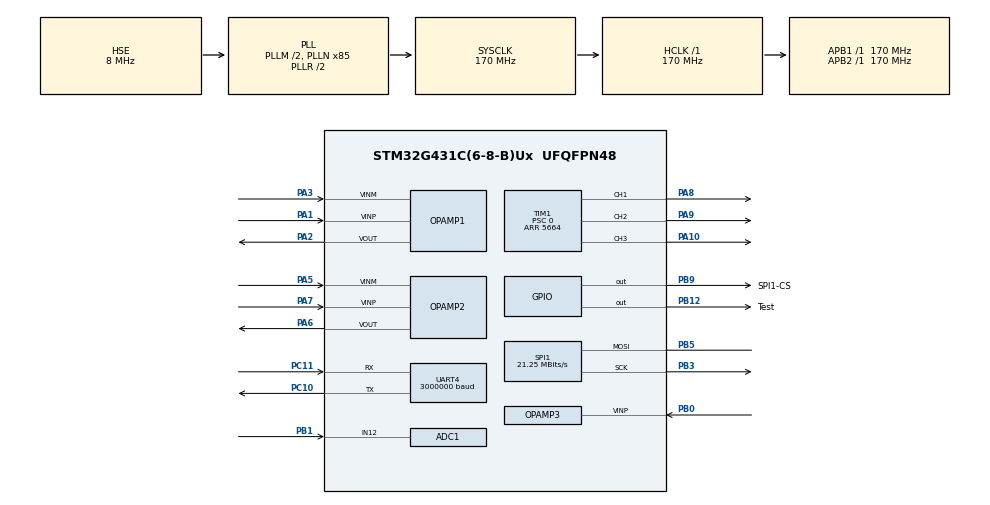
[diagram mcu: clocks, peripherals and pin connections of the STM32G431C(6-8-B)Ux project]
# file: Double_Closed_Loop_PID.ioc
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ADC1.Channel-0\#ChannelRegularConversion=ADC_CHANNEL_3
ADC1.EnableInjectedConversion=ENABLE
ADC1.ExternalTrigInjecConv=ADC_EXTERNALTRIGINJEC_T1_CC4
ADC1.InjNumberOfConversion=2
ADC1.InjectedChannel-1\#ChannelInjectedConversion=ADC_CHANNEL_3
ADC1.InjectedChannel-2\#ChannelInjectedConversion=ADC_CHANNEL_12
ADC1.InjectedOffsetNumber-1\#ChannelInjectedConversion=ADC_OFFSET_NONE
ADC1.InjectedOffsetNumber-2\#ChannelInjectedConversion=ADC_OFFSET_NONE
ADC1.InjectedRank-1\#ChannelInjectedConversion=1
ADC1.InjectedRank-2\#ChannelInjectedConversion=2
ADC1.InjectedSamplingTime-1\#ChannelInjectedConversion=ADC_SAMPLETIME_24CYCLES_5
ADC1.InjectedSamplingTime-2\#ChannelInjectedConversion=ADC_SAMPLETIME_6CYCLES_5
ADC1.NbrOfConversion=1
ADC1.NbrOfConversionFlag=1
ADC1.OffsetNumber-0\#ChannelRegularConversion=ADC_OFFSET_NONE
ADC1.Rank-0\#ChannelRegularConversion=1
ADC1.Rank1_Channel=ADC_CHANNEL_3
ADC1.Rank2_Channel=ADC_CHANNEL_12
ADC1.SamplingTime-0\#ChannelRegularConversion=ADC_SAMPLETIME_640CYCLES_5
ADC1.master=1
ADC2.Channel-0\#ChannelRegularConversion=ADC_CHANNEL_3
ADC2.EnableInjectedConversion=ENABLE
ADC2.ExternalTrigInjecConv=ADC_EXTERNALTRIGINJEC_T1_CC4
ADC2.InjNumberOfConversion=1
ADC2.InjectedChannel-1\#ChannelInjectedConversion=ADC_CHANNEL_3
ADC2.InjectedOffsetNumber-1\#ChannelInjectedConversion=ADC_OFFSET_NONE
ADC2.InjectedRank-1\#ChannelInjectedConversion=1
ADC2.InjectedSamplingTime-1\#ChannelInjectedConversion=ADC_SAMPLETIME_24CYCLES_5
ADC2.NbrOfConversionFlag=1
ADC2.OffsetNumber-0\#ChannelRegularConversion=ADC_OFFSET_NONE
ADC2.Rank-0\#ChannelRegularConversion=1
ADC2.Rank1_Channel=ADC_CHANNEL_3
ADC2.SamplingTime-0\#ChannelRegularConversion=ADC_SAMPLETIME_640CYCLES_5
Dma.Request0=UART4_RX
Dma.Request1=UART4_TX
Dma.Request2=SPI1_RX
Dma.Request3=SPI1_TX
Dma.SPI1_RX.2.Direction=DMA_PERIPH_TO_MEMORY
Dma.SPI1_RX.2.EventEnable=DISABLE
Dma.SPI1_RX.2.Instance=DMA1_Channel3
Dma.SPI1_RX.2.MemDataAlignment=DMA_MDATAALIGN_HALFWORD
Dma.SPI1_RX.2.MemInc=DMA_MINC_ENABLE
Dma.SPI1_RX.2.Mode=DMA_NORMAL
Dma.SPI1_RX.2.PeriphDataAlignment=DMA_PDATAALIGN_HALFWORD
Dma.SPI1_RX.2.PeriphInc=DMA_PINC_DISABLE
Dma.SPI1_RX.2.Polarity=HAL_DMAMUX_REQ_GEN_RISING
Dma.SPI1_RX.2.Priority=DMA_PRIORITY_LOW
Dma.SPI1_RX.2.RequestNumber=1
Dma.SPI1_RX.2.SignalID=NONE
Dma.SPI1_RX.2.SyncEnable=DISABLE
Dma.SPI1_RX.2.SyncPolarity=HAL_DMAMUX_SYNC_NO_EVENT
Dma.SPI1_RX.2.SyncRequestNumber=1
Dma.SPI1_RX.2.SyncSignalID=NONE
Dma.SPI1_TX.3.Direction=DMA_MEMORY_TO_PERIPH
Dma.SPI1_TX.3.EventEnable=DISABLE
Dma.SPI1_TX.3.Instance=DMA1_Channel4
Dma.SPI1_TX.3.MemDataAlignment=DMA_MDATAALIGN_HALFWORD
Dma.SPI1_TX.3.MemInc=DMA_MINC_ENABLE
Dma.SPI1_TX.3.Mode=DMA_NORMAL
Dma.SPI1_TX.3.PeriphDataAlignment=DMA_PDATAALIGN_HALFWORD
Dma.SPI1_TX.3.PeriphInc=DMA_PINC_DISABLE
Dma.SPI1_TX.3.Polarity=HAL_DMAMUX_REQ_GEN_RISING
Dma.SPI1_TX.3.Priority=DMA_PRIORITY_LOW
Dma.SPI1_TX.3.RequestNumber=1
Dma.SPI1_TX.3.SignalID=NONE
Dma.SPI1_TX.3.SyncEnable=DISABLE
Dma.SPI1_TX.3.SyncPolarity=HAL_DMAMUX_SYNC_NO_EVENT
Dma.SPI1_TX.3.SyncRequestNumber=1
Dma.SPI1_TX.3.SyncSignalID=NONE
Dma.UART4_RX.0.Direction=DMA_PERIPH_TO_MEMORY
Dma.UART4_RX.0.EventEnable=DISABLE
Dma.UART4_RX.0.Instance=DMA1_Channel1
Dma.UART4_RX.0.MemDataAlignment=DMA_MDATAALIGN_BYTE
Dma.UART4_RX.0.MemInc=DMA_MINC_ENABLE
Dma.UART4_RX.0.Mode=DMA_NORMAL
Dma.UART4_RX.0.PeriphDataAlignment=DMA_PDATAALIGN_BYTE
Dma.UART4_RX.0.PeriphInc=DMA_PINC_DISABLE
Dma.UART4_RX.0.Polarity=HAL_DMAMUX_REQ_GEN_RISING
Dma.UART4_RX.0.Priority=DMA_PRIORITY_LOW
Dma.UART4_RX.0.RequestNumber=1
Dma.UART4_RX.0.SignalID=NONE
Dma.UART4_RX.0.SyncEnable=DISABLE
Dma.UART4_RX.0.SyncPolarity=HAL_DMAMUX_SYNC_NO_EVENT
Dma.UART4_RX.0.SyncRequestNumber=1
Dma.UART4_RX.0.SyncSignalID=NONE
Dma.UART4_TX.1.Direction=DMA_MEMORY_TO_PERIPH
Dma.UART4_TX.1.EventEnable=DISABLE
Dma.UART4_TX.1.Instance=DMA1_Channel2
Dma.UART4_TX.1.MemDataAlignment=DMA_MDATAALIGN_BYTE
Dma.UART4_TX.1.MemInc=DMA_MINC_ENABLE
Dma.UART4_TX.1.Mode=DMA_NORMAL
Dma.UART4_TX.1.PeriphDataAlignment=DMA_PDATAALIGN_BYTE
Dma.UART4_TX.1.PeriphInc=DMA_PINC_DISABLE
Dma.UART4_TX.1.Polarity=HAL_DMAMUX_REQ_GEN_RISING
Dma.UART4_TX.1.Priority=DMA_PRIORITY_HIGH
Dma.UART4_TX.1.RequestNumber=1
Dma.UART4_TX.1.SignalID=NONE
Dma.UART4_TX.1.SyncEnable=DISABLE
Dma.UART4_TX.1.SyncPolarity=HAL_DMAMUX_SYNC_NO_EVENT
Dma.UART4_TX.1.SyncRequestNumber=1
Dma.UART4_TX.1.SyncSignalID=NONE
Mcu.Family=STM32G4
Mcu.Name=STM32G431C(6-8-B)Ux
Mcu.Package=UFQFPN48
NVIC.ADC1_2_IRQn=true\:0\:0\:true\:false\:true\:true\:true\:true
NVIC.DMA1_Channel1_IRQn=true\:15\:0\:true\:false\:true\:false\:true\:true
NVIC.DMA1_Channel2_IRQn=true\:15\:0\:true\:false\:true\:false\:true\:true
NVIC.DMA1_Channel3_IRQn=true\:0\:0\:false\:false\:true\:false\:true\:true
NVIC.DMA1_Channel4_IRQn=true\:0\:0\:false\:false\:true\:false\:true\:true
NVIC.FPU_IRQn=true\:0\:0\:false\:false\:true\:true\:false\:true
NVIC.PriorityGroup=NVIC_PRIORITYGROUP_4
NVIC.TIM1_CC_IRQn=true\:1\:0\:true\:false\:true\:true\:true\:true
NVIC.TIM2_IRQn=true\:2\:0\:true\:false\:true\:true\:true\:true
NVIC.UART4_IRQn=true\:3\:0\:true\:false\:true\:true\:true\:true
PA1.Mode=Standalone
PA1.Signal=OPAMP1_VINP
PA10.Signal=S_TIM1_CH3
PA13.Mode=Serial_Wire
PA13.Signal=SYS_JTMS-SWDIO
PA14.Mode=Serial_Wire
PA14.Signal=SYS_JTCK-SWCLK
PA2.Signal=SharedAnalog_PA2
PA3.Mode=Standalone
PA3.Signal=OPAMP1_VINM
PA5.Mode=Standalone
PA5.Signal=OPAMP2_VINM
PA6.Signal=SharedAnalog_PA6
PA7.Mode=Standalone
PA7.Signal=OPAMP2_VINP
PA8.Signal=S_TIM1_CH1
PA9.Signal=S_TIM1_CH2
PB0.Mode=Follower
PB0.Signal=OPAMP3_VINP
PB1.Signal=SharedAnalog_PB1
PB12.GPIO_Label=Test
PB12.Signal=GPIO_Output
PB3.Mode=Simplex_Bidirectional_Master
PB3.Signal=SPI1_SCK
PB5.Mode=Simplex_Bidirectional_Master
PB5.Signal=SPI1_MOSI
PB9.GPIO_Label=SPI1-CS
PB9.GPIO_Speed=GPIO_SPEED_FREQ_VERY_HIGH
PB9.PinState=GPIO_PIN_SET
PB9.Signal=GPIO_Output
PC10.Mode=Asynchronous
PC10.Signal=UART4_TX
PC11.Mode=Asynchronous
PC11.Signal=UART4_RX
PC14-OSC32_IN.Mode=LSE-External-Oscillator
PC14-OSC32_IN.Signal=RCC_OSC32_IN
PC15-OSC32_OUT.Mode=LSE-External-Oscillator
PC15-OSC32_OUT.Signal=RCC_OSC32_OUT
PF0-OSC_IN.Mode=HSE-External-Oscillator
PF0-OSC_IN.Signal=RCC_OSC_IN
PF1-OSC_OUT.Mode=HSE-External-Oscillator
PF1-OSC_OUT.Signal=RCC_OSC_OUT
ProjectManager.HeapSize=0x200
ProjectManager.StackSize=0x400
ProjectManager.TargetToolchain=CMake
RCC.ADC12Freq_Value=170000000
RCC.AHBFreq_Value=170000000
RCC.APB1Freq_Value=170000000
RCC.APB1TimFreq_Value=170000000
RCC.APB2Freq_Value=170000000
RCC.APB2TimFreq_Value=170000000
RCC.CortexFreq_Value=170000000
RCC.EXTERNAL_CLOCK_VALUE=12288000
RCC.HCLKFreq_Value=170000000
RCC.HSE_VALUE=8000000
RCC.HSI48_VALUE=48000000
RCC.HSI_VALUE=16000000
RCC.PLLM=RCC_PLLM_DIV2
RCC.PLLN=85
RCC.PLLSourceVirtual=RCC_PLLSOURCE_HSE
RCC.SYSCLKFreq_VALUE=170000000
RCC.SYSCLKSource=RCC_SYSCLKSOURCE_PLLCLK
RCC.USBFreq_Value=170000000
RCC.VCOOutputFreq_Value=340000000
SH.S_TIM1_CH1.0=TIM1_CH1,PWM Generation1 CH1
SH.S_TIM1_CH2.0=TIM1_CH2,PWM Generation2 CH2
SH.S_TIM1_CH3.0=TIM1_CH3,PWM Generation3 CH3
SH.SharedAnalog_PA2.0=OPAMP1_VOUT,Standalone
SH.SharedAnalog_PA2.1=ADC1_IN3,IN3-Single-Ended
SH.SharedAnalog_PA6.0=OPAMP2_VOUT,Standalone
SH.SharedAnalog_PA6.1=ADC2_IN3,IN3-Single-Ended
SH.SharedAnalog_PB1.0=ADC1_IN12,IN12-Single-Ended
SH.SharedAnalog_PB1.1=OPAMP3_VOUT,Follower
SPI1.BaudRatePrescaler=SPI_BAUDRATEPRESCALER_8
SPI1.CLKPhase=SPI_PHASE_2EDGE
SPI1.CRCCalculation=SPI_CRCCALCULATION_DISABLE
SPI1.CalculateBaudRate=21.25 MBits/s
SPI1.DataSize=SPI_DATASIZE_16BIT
SPI1.Direction=SPI_DIRECTION_1LINE
SPI1.Mode=SPI_MODE_MASTER
SPI1.VirtualType=VM_MASTER
STMicroelectronics.X-CUBE-ALGOBUILD.1.4.0.LibraryCcDSPOoLibraryJjDSPOoLibrary=true
TIM1.Channel-PWM\ Generation1\ CH1=TIM_CHANNEL_1
TIM1.Channel-PWM\ Generation2\ CH2=TIM_CHANNEL_2
TIM1.Channel-PWM\ Generation3\ CH3=TIM_CHANNEL_3
TIM1.Channel-PWM\ Generation4\ No\ Output=TIM_CHANNEL_4
TIM1.CounterMode=TIM_COUNTERMODE_CENTERALIGNED3
TIM1.OCFastMode_PWM-PWM\ Generation1\ CH1=TIM_OCFAST_ENABLE
TIM1.OCFastMode_PWM-PWM\ Generation2\ CH2=TIM_OCFAST_ENABLE
TIM1.OCFastMode_PWM-PWM\ Generation3\ CH3=TIM_OCFAST_ENABLE
TIM1.OCFastMode_PWM-PWM\ Generation4\ No\ Output=TIM_OCFAST_ENABLE
TIM1.OCMode_PWM-PWM\ Generation4\ No\ Output=TIM_OCMODE_PWM2
TIM1.PeriodNoDither=5664
TIM1.Prescaler=0
TIM1.PulseNoDither_1=0
TIM1.PulseNoDither_2=0
TIM1.PulseNoDither_3=0
TIM1.PulseNoDither_4=5663
TIM1.TIM_MasterOutputTrigger=TIM_TRGO_OC4REF
TIM2.PeriodNoDither=170000-1
TIM2.Prescaler=0
UART4.BaudRate=3000000
UART4.OverSampling=UART_OVERSAMPLING_16
UART4.Parity=PARITY_EVEN
UART4.WordLength=WORDLENGTH_9B
VP_CORDIC_VS_CORDIC.Mode=CORDIC_Activate
VP_STMicroelectronics.X-CUBE-ALGOBUILD_VS_DSPOoLibraryJjLibrary_1.4.0_1.4.0.Mode=DSPOoLibraryJjLibrary
VP_SYS_VS_DBSignals.Mode=DisableDeadBatterySignals
VP_TIM1_VS_ClockSourceINT.Mode=Internal
VP_TIM1_VS_no_output4.Mode=PWM Generation4 No Output
VP_TIM2_VS_ClockSourceINT.Mode=Internal
board=custom

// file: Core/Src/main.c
/* USER CODE BEGIN Header */
/**
  ******************************************************************************
  * @file           : main.c
  * @brief          : Main program body
  ******************************************************************************
  * @attention
  *
  * Copyright (c) 2026 STMicroelectronics.
  * All rights reserved.
  *
  * This software is licensed under terms that can be found in the LICENSE file
  * in the root directory of this software component.
  * If no LICENSE file comes with this software, it is provided AS-IS.
  *
  ******************************************************************************
  */
/* USER CODE END Header */
#include "main.h"
#include "adc.h"
#include "cordic.h"
#include "dma.h"
#include "opamp.h"
#include "spi.h"
#include "tim.h"
#include "usart.h"
#include "gpio.h"

/* USER CODE BEGIN Includes */

#include "MY_CALLBACK.h"
#include "MY_TLE5012B.h"
#include "MY_JUSTFLOAT.h"
#include "MY_CONTROL.h"

/* USER CODE END Includes */

/* USER CODE BEGIN PV */

//ADC采样原始数据
uint32_t ADC_Data[3] = {0, 0, 0};
//ADC采样转换后电流数据
float Current_abc[3] = {0, 0, 0};
//机械角度
float theta_m = 0;
float theta_m_last = 0;
//电角度
float theta_e = 0;
float Sin_theta_e = 0;
float Cos_theta_e = 0;
//机械角速度
float n_m = 0;
//速度环低通滤波
float n_m_last = 0;
//零位偏置
float ADC1_ZERO = 0;
float ADC2_ZERO = 0;
float Angel_ZERO = 0;
//两相静止坐标系电流
float I_alpha = 0;
float I_beta = 0;
//同步旋转坐标系电流
float I_d = 0;
float I_q = 0;
//SVPWM得到的三相占空比
float Duty_A = 0;
float Duty_B = 0;
float Duty_C = 0;
//母线电压
float Udc = U_DC_Default;
//SVPWM最大电压
float U_svpwm_max = U_DC_Default / SQRT3;
//DQ轴驱动电压
float U_d = 0;
float U_q = 0;
//电流-速度环PID控制器
Discrete_PID_Struct D_PID, Q_PID, Speed_PID;
//指令接收全局变量
uint8_t UART_Buffer[100];
float Order = 0;
uint16_t UART_Length = 0;
//电流环运行标志位
bool Current_Control_Flag = false;

/* USER CODE END PV */

void SystemClock_Config(void);

int main(void)
{

  /* MCU Configuration--------------------------------------------------------*/

  /* Reset of all peripherals, Initializes the Flash interface and the Systick. */
  HAL_Init();

  /* Configure the system clock */
  SystemClock_Config();

  /* Initialize all configured peripherals */
  MX_GPIO_Init();
  MX_DMA_Init();
  MX_OPAMP1_Init();
  MX_OPAMP2_Init();
  MX_OPAMP3_Init();
  MX_SPI1_Init();
  MX_TIM1_Init();
  MX_UART4_Init();
  MX_ADC1_Init();
  MX_ADC2_Init();
  MX_CORDIC_Init();
  MX_TIM2_Init();
  /* USER CODE BEGIN 2 */

    HAL_UARTEx_ReceiveToIdle_DMA(&huart4, UART_Buffer, 100);

    //PID结构体初始化
    PID_Struct_Init(D_Kp,D_Ki,D_Kd,D_N,Ts_Current,ID_Target_Default, &D_PID);
    PID_Struct_Init(Q_Kp,Q_Ki,Q_Kd,Q_N,Ts_Current,IQ_Target_Default, &Q_PID);
    PID_Struct_Init(Speed_Kp,Speed_Ki,Speed_Kd,Speed_N,Ts_Speed,Speed_Target_Default, &Speed_PID);

    //使能模拟运算放大器
    HAL_OPAMP_Start(&hopamp1);
    HAL_OPAMP_Start(&hopamp2);
    HAL_OPAMP_Start(&hopamp3);

    //开启两个ADC校验
    HAL_ADCEx_Calibration_Start(&hadc1, ADC_SINGLE_ENDED);
    HAL_ADCEx_Calibration_Start(&hadc2, ADC_SINGLE_ENDED);
    for (int i = 0; i < 10; i++)
    {
      //ADC零位检测
      HAL_ADCEx_Calibration_Start(&hadc1, ADC_SINGLE_ENDED);
      HAL_ADCEx_Calibration_Start(&hadc2, ADC_SINGLE_ENDED);
      HAL_ADC_Start(&hadc1);
      if (HAL_ADC_PollForConversion(&hadc1, HAL_MAX_DELAY) == HAL_OK)
      {
        ADC1_ZERO += HAL_ADC_GetValue(&hadc1) / 4096.0 * 3.3;
      }
      HAL_ADC_Start(&hadc2);
      if (HAL_ADC_PollForConversion(&hadc2, HAL_MAX_DELAY) == HAL_OK)
      {
        ADC2_ZERO += HAL_ADC_GetValue(&hadc2) / 4096.0 * 3.3;
      }
    }
    ADC1_ZERO = ADC1_ZERO / 10.0;
    ADC2_ZERO = ADC2_ZERO / 10.0;
    //使能ADC注入组转换
    HAL_ADCEx_InjectedStart_IT(&hadc1);
    HAL_ADCEx_InjectedStart_IT(&hadc2);

    //使能定时器
    HAL_TIM_Base_Start(&htim1);
    //三相PWM输出
    HAL_TIM_PWM_Start(&htim1, TIM_CHANNEL_1);
    HAL_TIM_PWM_Start(&htim1, TIM_CHANNEL_2);
    HAL_TIM_PWM_Start(&htim1, TIM_CHANNEL_3);
    //编码器零位校准

    //基于I闭环控制模型抽象的编码器零位矫正
    // int k = 0;
    // U_d = U_svpwm_max;
    // U_q = 0;
    // float wm_0_90[2] = {0};
    // for (int i = 0; i < 2; i++)
    // {
    //   //读取起始机械角度
    //   theta_m_last = TLE5012B_Angle();
    //   // 给定Ud情况下转动
    //   for (int j = 0; j < 50; j++)
    //   {
    //     theta_e = TLE5012B_Angle();
    //     theta_e = theta_e * MOTOR_POLE_PAIRS + i * 90;
    //     DSP_Float_Calc_SinCos(theta_e, &Sin_theta_e, &Cos_theta_e);
    //     SVPWM_Calculation(&U_d, &U_q, Sin_theta_e, Cos_theta_e,U_svpwm_max, Udc,
    //       &Duty_A, &Duty_B, &Duty_C);
    //     Set_CCR(Duty_A, Duty_B, Duty_C);
    //   }
    //   // 读取结束机械角度
    //   theta_m = TLE5012B_Angle();
    //   wm_0_90[i] = theta_m - theta_m_last;
    //   U_d = U_svpwm_max;
    // }
    // if (wm_0_90[0] * wm_0_90[1] < 0)
    // {
    //   //零位位于第一、第三象限
    //   if (wm_0_90[1] < 0)
    //   {
    //     //零位位于第三象限
    //     Angel_ZERO = 180;
    //   }
    //   else if (wm_0_90[1] > 0)
    //   {
    //     //零位位于第一象限
    //     Angel_ZERO = 0;
    //   }
    // }
    // else if (wm_0_90[0] * wm_0_90[1] > 0)
    // {
    //   //零位位于第二、第四象限
    //   if (wm_0_90[1] < 0)
    //   {
    //     //零位位于第二象限
    //     Angel_ZERO = 90;
    //   }
    //   else if (wm_0_90[1] > 0)
    //   {
    //     //零位位于第四象限
    //     Angel_ZERO = 270;
    //   }
    // }
    // while (k < 3)
    // {
    //   float Angle_ZERO_Init = Angel_ZERO;
    //   theta_m_last = TLE5012B_Angle();
    //   for (int i = 0; i < 100; i++)
    //   {
    //     theta_e = TLE5012B_Angle();
    //     theta_e = theta_e * MOTOR_POLE_PAIRS + Angel_ZERO;
    //     DSP_Float_Calc_SinCos(theta_e, &Sin_theta_e, &Cos_theta_e);
    //     SVPWM_Calculation(&U_d, &U_q, Sin_theta_e, Cos_theta_e,U_svpwm_max, Udc,
    //       &Duty_A, &Duty_B, &Duty_C);
    //     Set_CCR(Duty_A, Duty_B, Duty_C);
    //   }
    //   theta_m = TLE5012B_Angle();
    //   n_m = (1 - Speed_Filter) * (theta_m - theta_m_last) + Speed_Filter * n_m;
    //   U_d = U_svpwm_max;
    //   if (n_m < 0.5 && n_m > -0.5)
    //   {
    //     k++;
    //   }
    //   else
    //   {
    //     k = 0;
    //     Angel_ZERO += 0.1 * n_m;
    //   }
    // }

    //基于转子吸附的编码器零位矫正
    int k = 0;
    U_d = U_svpwm_max;
    while(k<10)
    {
      //A相
      Set_CCR(0.9,0.1,0.1);
      HAL_Delay(500);
      theta_e = TLE5012B_Angle() * MOTOR_POLE_PAIRS;
      theta_e = fmod(theta_e, 360);
      theta_e<0?theta_e+=360:theta_e;
      Angel_ZERO += 360 - theta_e;
      //B相
      Set_CCR(0.1,0.9,0.1);
      HAL_Delay(500);
      theta_e = TLE5012B_Angle() * MOTOR_POLE_PAIRS - 120;
      theta_e = fmod(theta_e, 360);
      theta_e<0?theta_e+=360:theta_e;
      Angel_ZERO += 360 - theta_e;
      //C相
      Set_CCR(0.1,0.1,0.9);
      HAL_Delay(500);
      theta_e = TLE5012B_Angle() * MOTOR_POLE_PAIRS + 120;
      theta_e = fmod(theta_e, 360);
      theta_e<0?theta_e+=360:theta_e;
      Angel_ZERO += 360 - theta_e;
      //计算零位
      Angel_ZERO = Angel_ZERO / 3;
      //验证
      theta_m_last = TLE5012B_Angle();
      for (int i = 0; i < 100; i++)
      {
        theta_e = TLE5012B_Angle();
        theta_e = theta_e * MOTOR_POLE_PAIRS + Angel_ZERO;
        DSP_Float_Calc_SinCos(theta_e, &Sin_theta_e, &Cos_theta_e);
        SVPWM_Calculation(&U_d, &U_q, Sin_theta_e, Cos_theta_e, U_svpwm_max, Udc, &Duty_A, &Duty_B, &Duty_C);
        Set_CCR(Duty_A, Duty_B, Duty_C);
      }
      theta_m = TLE5012B_Angle();
      n_m = (1 - Speed_Filter) * (theta_m - theta_m_last) + Speed_Filter * n_m;
      U_d = 0;
      if (n_m < 0.5 && n_m > -0.5)
      {
        break;
      }
      else {
        k++;
        Angel_ZERO = 0;
      }
    }

    //初始化
    JUSTFLOAT_Init();
    //绑定串口
    JUSTFLOAT_BindUart(&huart4);
    //注册变量表
    JUSTFLOAT_AddData(&theta_m);
    JUSTFLOAT_AddData(&theta_e);
    JUSTFLOAT_AddData(&n_m);
    JUSTFLOAT_AddData(&Udc);
    JUSTFLOAT_AddData(&I_d);
    JUSTFLOAT_AddData(&I_q);
    // JUSTFLOAT_AddData(&Duty_A);
    // JUSTFLOAT_AddData(&Duty_B);
    // JUSTFLOAT_AddData(&Duty_C);
    JUSTFLOAT_AddData(&Angel_ZERO);
    JUSTFLOAT_AddData(&U_d);
    JUSTFLOAT_AddData(&U_q);
    JUSTFLOAT_AddData(&D_PID.Setvalue);
    JUSTFLOAT_AddData(&Q_PID.Setvalue);
    JUSTFLOAT_AddData(&Speed_PID.Setvalue);
    JUSTFLOAT_AddData(&Current_abc[0]);
    JUSTFLOAT_AddData(&Current_abc[1]);
    JUSTFLOAT_AddData(&Current_abc[2]);

    //电流环控制中断
    HAL_TIM_PWM_Start_IT(&htim1, TIM_CHANNEL_4);
    //速度环控制中断
    HAL_TIM_Base_Start_IT(&htim2);

  /* USER CODE END 2 */

  /* Infinite loop */
    while (1)
    {

    }
}

void SystemClock_Config(void)
{
  RCC_OscInitTypeDef RCC_OscInitStruct = {0};
  RCC_ClkInitTypeDef RCC_ClkInitStruct = {0};

  /** Configure the main internal regulator output voltage
  */
  HAL_PWREx_ControlVoltageScaling(PWR_REGULATOR_VOLTAGE_SCALE1_BOOST);

  /** Initializes the RCC Oscillators according to the specified parameters
  * in the RCC_OscInitTypeDef structure.
  */
  RCC_OscInitStruct.OscillatorType = RCC_OSCILLATORTYPE_HSE;
  RCC_OscInitStruct.HSEState = RCC_HSE_ON;
  RCC_OscInitStruct.PLL.PLLState = RCC_PLL_ON;
  RCC_OscInitStruct.PLL.PLLSource = RCC_PLLSOURCE_HSE;
  RCC_OscInitStruct.PLL.PLLM = RCC_PLLM_DIV2;
  RCC_OscInitStruct.PLL.PLLN = 85;
  RCC_OscInitStruct.PLL.PLLP = RCC_PLLP_DIV2;
  RCC_OscInitStruct.PLL.PLLQ = RCC_PLLQ_DIV2;
  RCC_OscInitStruct.PLL.PLLR = RCC_PLLR_DIV2;
  if (HAL_RCC_OscConfig(&RCC_OscInitStruct) != HAL_OK)
  {
    Error_Handler();
  }

  /** Initializes the CPU, AHB and APB buses clocks
  */
  RCC_ClkInitStruct.ClockType = RCC_CLOCKTYPE_HCLK|RCC_CLOCKTYPE_SYSCLK
                              |RCC_CLOCKTYPE_PCLK1|RCC_CLOCKTYPE_PCLK2;
  RCC_ClkInitStruct.SYSCLKSource = RCC_SYSCLKSOURCE_PLLCLK;
  RCC_ClkInitStruct.AHBCLKDivider = RCC_SYSCLK_DIV1;
  RCC_ClkInitStruct.APB1CLKDivider = RCC_HCLK_DIV1;
  RCC_ClkInitStruct.APB2CLKDivider = RCC_HCLK_DIV1;

  if (HAL_RCC_ClockConfig(&RCC_ClkInitStruct, FLASH_LATENCY_4) != HAL_OK)
  {
    Error_Handler();
  }
}

void Error_Handler(void)
{
    __disable_irq();
    while (1)
    {
    }
}
